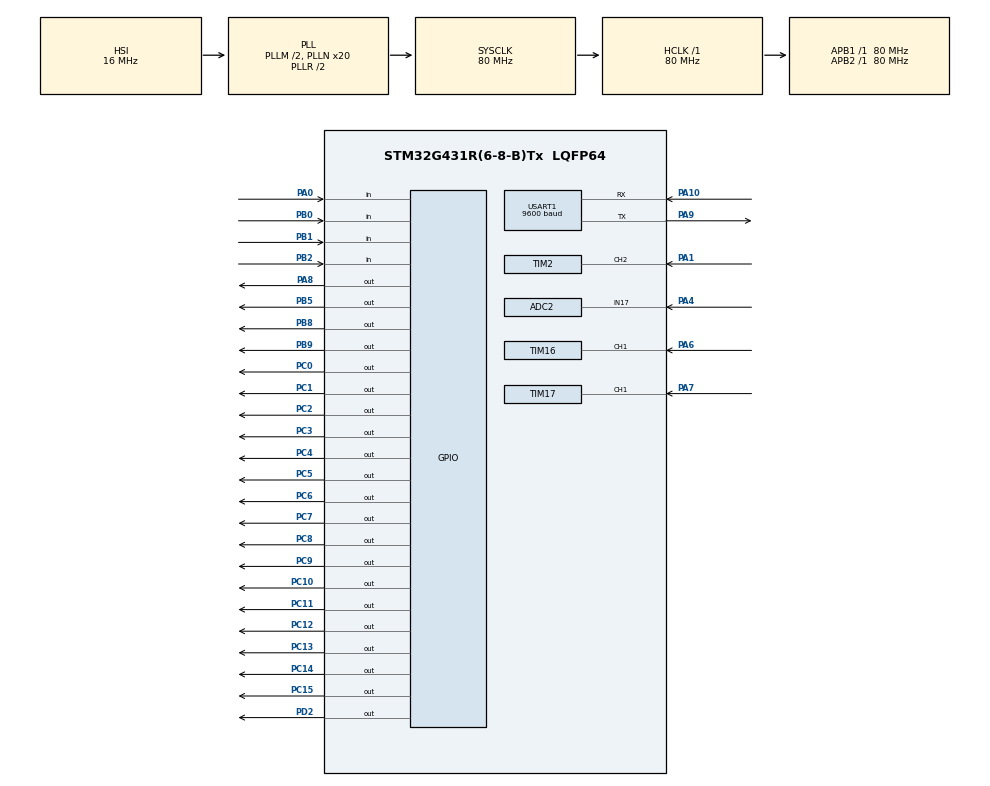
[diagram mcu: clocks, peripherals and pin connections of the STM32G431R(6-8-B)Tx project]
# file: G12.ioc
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ADC2.Channel-0\#ChannelRegularConversion=ADC_CHANNEL_17
ADC2.NbrOfConversionFlag=1
ADC2.OffsetNumber-0\#ChannelRegularConversion=ADC_OFFSET_NONE
ADC2.Rank-0\#ChannelRegularConversion=1
ADC2.SamplingTime-0\#ChannelRegularConversion=ADC_SAMPLETIME_640CYCLES_5
Mcu.Family=STM32G4
Mcu.Name=STM32G431R(6-8-B)Tx
Mcu.Package=LQFP64
NVIC.PriorityGroup=NVIC_PRIORITYGROUP_2
NVIC.TIM1_BRK_TIM15_IRQn=true\:1\:1\:true\:false\:true\:true\:true\:true
NVIC.TIM1_TRG_COM_TIM17_IRQn=true\:0\:0\:false\:false\:true\:true\:true\:true
NVIC.TIM1_UP_TIM16_IRQn=true\:0\:0\:false\:false\:true\:true\:true\:true
NVIC.TIM2_IRQn=true\:0\:0\:false\:false\:true\:true\:true\:true
NVIC.USART1_IRQn=true\:0\:0\:false\:false\:true\:true\:true\:true
PA0.Signal=GPIO_Input
PA1.Signal=S_TIM2_CH2
PA10.Mode=Asynchronous
PA10.Signal=USART1_RX
PA4.Mode=IN17-Single-Ended
PA4.Signal=ADC2_IN17
PA6.Signal=S_TIM16_CH1
PA7.Signal=S_TIM17_CH1
PA8.Signal=GPIO_Output
PA9.Mode=Asynchronous
PA9.Signal=USART1_TX
PB0.Signal=GPIO_Input
PB1.Signal=GPIO_Input
PB2.Signal=GPIO_Input
PB5.Signal=GPIO_Output
PB8-BOOT0.Signal=GPIO_Output
PB9.Signal=GPIO_Output
PC0.Signal=GPIO_Output
PC1.Signal=GPIO_Output
PC10.Signal=GPIO_Output
PC11.Signal=GPIO_Output
PC12.Signal=GPIO_Output
PC13.Signal=GPIO_Output
PC14-OSC32_IN.Signal=GPIO_Output
PC15-OSC32_OUT.Signal=GPIO_Output
PC2.Signal=GPIO_Output
PC3.Signal=GPIO_Output
PC4.Signal=GPIO_Output
PC5.Signal=GPIO_Output
PC6.Signal=GPIO_Output
PC7.Signal=GPIO_Output
PC8.Signal=GPIO_Output
PC9.Signal=GPIO_Output
PD2.Signal=GPIO_Output
PF0-OSC_IN.Mode=HSE-External-Oscillator
PF0-OSC_IN.Signal=RCC_OSC_IN
PF1-OSC_OUT.Mode=HSE-External-Oscillator
PF1-OSC_OUT.Signal=RCC_OSC_OUT
ProjectManager.HeapSize=0x200
ProjectManager.StackSize=0x400
ProjectManager.TargetToolchain=MDK-ARM V5
RCC.ADC12Freq_Value=80000000
RCC.AHBFreq_Value=80000000
RCC.APB1Freq_Value=80000000
RCC.APB1TimFreq_Value=80000000
RCC.APB2Freq_Value=80000000
RCC.APB2TimFreq_Value=80000000
RCC.CortexFreq_Value=80000000
RCC.EXTERNAL_CLOCK_VALUE=12288000
RCC.HCLKFreq_Value=80000000
RCC.HSE_VALUE=24000000
RCC.HSI48_VALUE=48000000
RCC.HSI_VALUE=16000000
RCC.LSE_VALUE=32768
RCC.PLLM=RCC_PLLM_DIV2
RCC.PLLN=20
RCC.SYSCLKFreq_VALUE=80000000
RCC.SYSCLKSource=RCC_SYSCLKSOURCE_PLLCLK
RCC.USBFreq_Value=80000000
RCC.VCOOutputFreq_Value=160000000
SH.S_TIM16_CH1.0=TIM16_CH1,Input_Capture1_from_TI1
SH.S_TIM17_CH1.0=TIM17_CH1,Input_Capture1_from_TI1
SH.S_TIM2_CH2.0=TIM2_CH2,Input_Capture2_from_TI2
TIM15.PeriodNoDither=9999
TIM15.Prescaler=799
TIM16.Channel=TIM_CHANNEL_1
TIM16.PeriodNoDither=\ 0xffff
TIM16.Prescaler=79
TIM17.Channel=TIM_CHANNEL_1
TIM17.PeriodNoDither=0xffff
TIM17.Prescaler=79
TIM2.Channel-Input_Capture2_from_TI2=TIM_CHANNEL_2
TIM2.PeriodNoDither=\ 0xffffffff
TIM2.Prescaler=79
USART1.BaudRate=9600
USART1.VirtualMode-Asynchronous=VM_ASYNC
VP_SYS_VS_DBSignals.Mode=DisableDeadBatterySignals
VP_TIM15_VS_ClockSourceINT.Mode=Internal
VP_TIM16_VS_ClockSourceINT.Mode=Enable_Timer
VP_TIM17_VS_ClockSourceINT.Mode=Enable_Timer
board=custom

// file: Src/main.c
/* USER CODE BEGIN Header */
/**
  ******************************************************************************
  * @file           : main.c
  * @brief          : Main program body
  ******************************************************************************
  * @attention
  *
  * <h2><center>&copy; Copyright (c) 2021 STMicroelectronics.
  * All rights reserved.</center></h2>
  *
  * This software component is licensed by ST under BSD 3-Clause license,
  * the "License"; You may not use this file except in compliance with the
  * License. You may obtain a copy of the License at:
  *                        opensource.org/licenses/BSD-3-Clause
  *
  ******************************************************************************
  */
/* USER CODE END Header */

#include "main.h"
#include "adc.h"
#include "tim.h"
#include "usart.h"
#include "gpio.h"

/* USER CODE BEGIN Includes */
#include "led.h"
#include "key.h"
#include "stdio.h"
#include "string.h"
#include "math.h"

/* USER CODE END Includes */

void SystemClock_Config(void);

/* USER CODE BEGIN 0 */

#define Display_DATA 0
#define Display_PARA 1

u8 Display_Mode = 0;

//1

double a = 120.4;
double b = 42.8;

_Bool max_flag = 0;
u8 a_index = 0;//考虑数据存满之前和存满之后
u8 b_index = 0;
u8 index_cnt = 0;
double a_buf[6];  //1 - 5分别存5个数据0
double b_buf[6];

double qa_buf[6];  //1 - 5分别存5个数
double qb_buf[6];

int ax = 0;
int bx = 0;

_Bool mode = 0; // 0A  ; 1B

//2

u8 Pax = 20;
u8 Pbx = 20;
int Pf = 1000;

extern double PA6_D;
extern double PA7_D;
extern double PA4_V_temp;
extern uint32_t PA1_F;

//LED
u8 led_ctrl = 0x00;
//c为角度
double c;
void Led_Proc(void)
{

	if(ax > Pax)
		led_ctrl |= 0x01;
	else
		led_ctrl&=~0x01;

	if(bx > Pbx)
		led_ctrl |= 0x02;
	else
		led_ctrl&=~0x02;

  if(PA1_F > Pf)
		led_ctrl |= 0x04;
	else
		led_ctrl &= ~0x04;

	if(mode == 0)
		led_ctrl|= 0x08;
	else
		led_ctrl&=~0x08;

	//LED5
	if(a <= 90)
	{
		c = 90 - a + b;
	}else
	{
		c = 90-(180-a);
	}

	if(c < 10)
		led_ctrl |= 0x10;
	else
		led_ctrl &= ~0x10;

	Led_Control(led_ctrl);
}

//KEY
uint32_t keyTick = 0;
void Key_Proc(void)
{
	if(uwTick - keyTick < 20)return;
	keyTick = uwTick;

  Key_Read();

	if(Trg & 0x01)
	{
		LCD_Clear(Black);
		Display_Mode = (Display_Mode + 1)%2;
	}

	if(Trg & 0x02)
	{
		if(Display_Mode == Display_PARA)
		{
			if(Pax < 60)
				Pax+=10;
			else
				Pax = 10;

			if(Pbx < 60)
				Pbx+=10;
			else
				Pbx = 10;
		}
	}

	if(Trg & 0x04)
	{
		if(Display_Mode == Display_PARA)
		{
			if(Pf < 10000)
				Pf += 1000;
			else
				Pf = 1000;
		}

		if(Display_Mode == Display_DATA)
		{
			mode = !mode;
			if(mode == 1)
				PA4_V_temp = 3.3;
		}
	}

	if(Trg & 0x08)
	{
		if(mode == 0)
		{
			if(PA6_D <= 0.1)
				a = 0;
		  else if(PA6_D > 0.1 && PA6_D <= 0.9)
			  a = 180/0.8 *(PA6_D - 0.1);
			else
				a = 180;

			if(PA7_D <= 0.1)
				b = 0;
		  else if(PA7_D > 0.1 && PA7_D <= 0.9)
		    b = 90/0.8 *(PA7_D - 0.1);
			else
				b = 90;

			u8 i;
			for(i = 4;i>0;i--)
			{
				a_buf[i+1] = a_buf[i];
			}

			for(i = 4;i>0;i--)
			{
				b_buf[i+1] = b_buf[i];
			}

			a_buf[1] = a;
			b_buf[1] = b;

			ax = fabs(a_buf[1] - a_buf[2]);
			bx = fabs(b_buf[1] - b_buf[2]);

//
//			if(a_index == 5)
//			{
//				a_index = 0;
//				b_index = 0;
//				max_flag = 1;//存满了  //方法一 标志位,不如操作数组
//				//方法二：存满后再存，数组先轮流替换,根据题目，存数时间顺序
//
//
//			}

		}
	}

}

//PA1  PA6  PA7
uint32_t uwIC2Value1_PA1 = 0;
uint32_t uwIC2Value2_PA1 = 0;
uint32_t uwDiffCapture_PA1 = 0;

/* Capture index */
uint16_t uhCaptureIndex_PA1 = 0;

/* Frequency Value */

uint32_t PA1_F;

//PA6
uint32_t uwIC2Value1_PA6 = 0;
uint32_t uwIC2Value2_PA6 = 0;
uint32_t low_PA6,high_PA6;

/* Capture index */
uint16_t uhCaptureIndex_PA6 = 0;

/* Frequency Value */

double PA6_D;

//PA7

uint32_t uwIC2Value1_PA7 = 0;
uint32_t uwIC2Value2_PA7 = 0;
uint32_t low_PA7,high_PA7;

/* Capture index */
uint16_t uhCaptureIndex_PA7 = 0;

/* Frequency Value */

double PA7_D;

void HAL_TIM_IC_CaptureCallback(TIM_HandleTypeDef *htim)
{
	if(htim == &htim2)
	{
			if (htim->Channel == HAL_TIM_ACTIVE_CHANNEL_2)
			{
				if(uhCaptureIndex_PA1 == 0)
				{
					/* Get the 1st Input Capture value */
					uwIC2Value1_PA1 = HAL_TIM_ReadCapturedValue(htim, TIM_CHANNEL_2);
					uhCaptureIndex_PA1 = 1;
				}
				else if(uhCaptureIndex_PA1 == 1)
				{
					/* Get the 2nd Input Capture value */
					uwIC2Value2_PA1 = HAL_TIM_ReadCapturedValue(htim, TIM_CHANNEL_2);

					/* Capture computation */
					if (uwIC2Value2_PA1 > uwIC2Value1_PA1)
					{
						uwDiffCapture_PA1 = (uwIC2Value2_PA1 - uwIC2Value1_PA1);
					}
					else if (uwIC2Value2_PA1 < uwIC2Value1_PA1)
					{
						/* 0xFFFF is max TIM1_CCRx value */
						uwDiffCapture_PA1 = ((0xFFFFFFFF - uwIC2Value1_PA1) + uwIC2Value2_PA1) + 1;
					}
					else
					{
						/* If capture values are equal, we have reached the limit of frequency
							 measures */
						Error_Handler();
					}

					/* Frequency computation: for this example TIMx (TIM1) is clocked by
						 APB2Clk */
					PA1_F = 1e6/uwDiffCapture_PA1;
					uhCaptureIndex_PA1 = 0;
				}
			}

	}

	if(htim == &htim16)
	{
			if (htim->Channel == HAL_TIM_ACTIVE_CHANNEL_1)
			{
				if(uhCaptureIndex_PA6 == 0)
				{
					/* Get the 1st Input Capture value */
					uwIC2Value1_PA6 = HAL_TIM_ReadCapturedValue(htim, TIM_CHANNEL_1);
					__HAL_TIM_SET_CAPTUREPOLARITY(&htim16,TIM_CHANNEL_1,TIM_INPUTCHANNELPOLARITY_FALLING);
					uhCaptureIndex_PA6 = 1;
				}
				else if(uhCaptureIndex_PA6 == 1)
				{
					/* Get the 2nd Input Capture value */
					uwIC2Value2_PA6 = HAL_TIM_ReadCapturedValue(htim, TIM_CHANNEL_1);
					__HAL_TIM_SET_CAPTUREPOLARITY(&htim16,TIM_CHANNEL_1,TIM_INPUTCHANNELPOLARITY_RISING);
					/* Capture computation */
					if (uwIC2Value2_PA6 > uwIC2Value1_PA6)
					{
						high_PA6 = (uwIC2Value2_PA6 - uwIC2Value1_PA6);
					}
					else if (uwIC2Value2_PA6 < uwIC2Value1_PA6)
					{
						/* 0xFFFF is max TIM1_CCRx value */
						high_PA6 = ((0xFFFF - uwIC2Value1_PA6) + uwIC2Value2_PA6) + 1;
					}
					else
					{
						/* If capture values are equal, we have reached the limit of frequency
							 measures */
						Error_Handler();
					}

					/* Frequency computation: for this example TIMx (TIM1) is clocked by
						 APB2Clk */
					uwIC2Value1_PA6 = uwIC2Value2_PA6;
					uhCaptureIndex_PA6 = 2;
				}
				else if(uhCaptureIndex_PA6 == 2)
				{
					/* Get the 2nd Input Capture value */
					uwIC2Value2_PA6 = HAL_TIM_ReadCapturedValue(htim, TIM_CHANNEL_1);
					/* Capture computation */
					if (uwIC2Value2_PA6 > uwIC2Value1_PA6)
					{
						low_PA6 = (uwIC2Value2_PA6 - uwIC2Value1_PA6);
					}
					else if (uwIC2Value2_PA6 < uwIC2Value1_PA6)
					{
						/* 0xFFFF is max TIM1_CCRx value */
						low_PA6 = ((0xFFFF - uwIC2Value1_PA6) + uwIC2Value2_PA6) + 1;
					}
					else
					{
						/* If capture values are equal, we have reached the limit of frequency
							 measures */
						Error_Handler();
					}

					/* Frequency computation: for this example TIMx (TIM1) is clocked by
						 APB2Clk */

					PA6_D = high_PA6*1.0/(low_PA6 + high_PA6);
					uhCaptureIndex_PA6 =  0;
				}

			}

	}

	if(htim == &htim17)
	{
					if (htim->Channel == HAL_TIM_ACTIVE_CHANNEL_1)
					{
						if(uhCaptureIndex_PA7 == 0)
						{
							/* Get the 1st Input Capture value */
							uwIC2Value1_PA7 = HAL_TIM_ReadCapturedValue(htim, TIM_CHANNEL_1);
							__HAL_TIM_SET_CAPTUREPOLARITY(&htim17,TIM_CHANNEL_1,TIM_INPUTCHANNELPOLARITY_FALLING);
							uhCaptureIndex_PA7 = 1;
						}
						else if(uhCaptureIndex_PA7 == 1)
						{
							/* Get the 2nd Input Capture value */
							uwIC2Value2_PA7 = HAL_TIM_ReadCapturedValue(htim, TIM_CHANNEL_1);
							__HAL_TIM_SET_CAPTUREPOLARITY(&htim17,TIM_CHANNEL_1,TIM_INPUTCHANNELPOLARITY_RISING);
							/* Capture computation */
							if (uwIC2Value2_PA7 > uwIC2Value1_PA7)
							{
								high_PA7 = (uwIC2Value2_PA7 - uwIC2Value1_PA7);
							}
							else if (uwIC2Value2_PA7 < uwIC2Value1_PA7)
							{
								/* 0xFFFF is max TIM1_CCRx value */
								high_PA7 = ((0xFFFF - uwIC2Value1_PA7) + uwIC2Value2_PA7) + 1;
							}
							else
							{
								/* If capture values are equal, we have reached the limit of frequency
									 measures */
								Error_Handler();
							}

							/* Frequency computation: for this example TIMx (TIM1) is clocked by
								 APB2Clk */
							uwIC2Value1_PA7 = uwIC2Value2_PA7;
							uhCaptureIndex_PA7 = 2;
						}
						else if(uhCaptureIndex_PA7 == 2)
						{
							/* Get the 2nd Input Capture value */
							uwIC2Value2_PA7 = HAL_TIM_ReadCapturedValue(htim, TIM_CHANNEL_1);
							/* Capture computation */
							if (uwIC2Value2_PA7 > uwIC2Value1_PA7)
							{
								low_PA7 = (uwIC2Value2_PA7 - uwIC2Value1_PA7);
							}
							else if (uwIC2Value2_PA7 < uwIC2Value1_PA7)
							{
								/* 0xFFFF is max TIM1_CCRx value */
								low_PA7 = ((0xFFFF - uwIC2Value1_PA7) + uwIC2Value2_PA7) + 1;
							}
							else
							{
								/* If capture values are equal, we have reached the limit of frequency
									 measures */
								Error_Handler();
							}

							/* Frequency computation: for this example TIMx (TIM1) is clocked by
								 APB2Clk */

							PA7_D = high_PA7*1.0/(low_PA7 + high_PA7);
							uhCaptureIndex_PA7 =  0;
						}

					}

	}

}

//PA4
double PA4_V;
void ADC_Proc(void)
{
	HAL_ADC_Start(&hadc2);
	PA4_V = HAL_ADC_GetValue(&hadc2)*3.3/4095;
}

//自动刷新
//亮变暗时候，遮挡光敏电阻时候,电压变大
double PA4_V_temp = 3.3;
uint32_t atTick = 0;
void Auto_Proc(void)
{
	if(uwTick - atTick < 100) return;
	atTick = uwTick;

	if(mode == 1) //考虑刚切换时的值改变
	{
		if(PA4_V_temp < (PA4_V - 0.5))  //注意设定一个阈值
		{
				if(PA6_D <= 0.1)
					a = 0;
				else if(PA6_D > 0.1 && PA6_D <= 0.9)
					a = 180/0.8 *(PA6_D - 0.1);
				else
					a = 180;

				if(PA7_D <= 0.1)
					b = 0;
				else if(PA7_D > 0.1 && PA7_D <= 0.9)
					b = 90/0.8 *(PA7_D - 0.1);
				else
					b = 90;

				u8 i;
				for(i = 4;i>0;i--)
				{
					a_buf[i+1] = a_buf[i];
				}

				for(i = 4;i>0;i--)
				{
					b_buf[i+1] = b_buf[i];
				}

				a_buf[1] = a;
				b_buf[1] = b;

				ax = fabs(a_buf[1] - a_buf[2]);
				bx = fabs(b_buf[1] - b_buf[2]);
		}
		PA4_V_temp = PA4_V;
	}

}

//串口
//发送
u8 tx_buf[100] = {"你好hello!\r\n"};

int fputc(int ch, FILE *f)
{
  /* Your implementation of fputc(). */

	HAL_UART_Transmit(&huart1,(u8 *)&ch,1,50);
  return ch;
}

//接受
u8 uart_buf[2];
u8 rx_buf[100];
u8 rx_cnt = 0;

uint32_t uartTick = 0;
void Rx_Idle(void)
{
	if(uwTick - uartTick < 50) return;
	uartTick = uwTick;

	if(rx_cnt > 0)
	{

		if(rx_buf[0] == 'a' && rx_buf[1] == '?')
		{
			printf("a:%.1f\r\n",a);

		}

		else if(rx_buf[0] == 'b' && rx_buf[1] == '?')
		{
			printf("b:%.1f\r\n",b);

		}

		else if(rx_buf[0] == 'a' && rx_buf[1] == 'a' && rx_buf[2] == '?')
		{
			printf("aa:%.1f-%.1f-%.1f-%.1f-%.1f\r\n",a_buf[1],a_buf[2],a_buf[3],a_buf[4],a_buf[5]);

		}

		else if(rx_buf[0] == 'b' && rx_buf[1] == 'b' && rx_buf[2] == '?')
		{
			printf("bb:%.1f-%.1f-%.1f-%.1f-%.1f\r\n",b_buf[1],b_buf[2],b_buf[3],b_buf[4],b_buf[5]);

		}

		else if(rx_buf[0] == 'q' && rx_buf[1] == 'a' && rx_buf[2] == '?')
		{
			u8 i;
			for(i = 0;i<6;i++)
			{
				qa_buf[i] = a_buf[i];
			}

		  //排序//冒泡//每次从第一个元素开始比较
		  u8 j,k;
		  double t;
			for(j = 1;j< 5;j++) //5个数，比较4次
			{
				for(k = 1;k< 6-j;k++) //最后一次比较 a[4] 和a[5] ;k = 4;因此k < 5
				{
					if(qa_buf[k] > qa_buf[k+1])
					{
						t = qa_buf[k];
						qa_buf[k] = qa_buf[k+1];
						qa_buf[k+1] = t;
					}
				}
			}
	   printf("qa:%.1f-%.1f-%.1f-%.1f-%.1f\r\n",qa_buf[1],qa_buf[2],qa_buf[3],qa_buf[4],qa_buf[5]);

	}

		else if(rx_buf[0] == 'q' && rx_buf[1] == 'b' && rx_buf[2] == '?')
		{
			u8 i;
			for(i = 0;i<6;i++)
			{
				qb_buf[i] = b_buf[i];
			}

		  //排序//冒泡
		 u8 j,k;
		 double t;
			//a[k] 1 - 5共 5 个数
			for(j = 1;j< 5;j++) //5个数，比较4次
			{
				for(k = 1;k<6 - j;k++) //最后一次比较 a[4] 和a[5] ;k = 4;
				{
					if(qb_buf[k] > qb_buf[k+1])
					{
						t = qb_buf[k];
						qb_buf[k] = qb_buf[k+1];
						qb_buf[k+1] = t;
					}
				}
			}

			printf("qb:%.1f-%.1f-%.1f-%.1f-%.1f\r\n",qb_buf[1],qb_buf[2],qb_buf[3],qb_buf[4],qb_buf[5]);
		}
		else
		{
			printf("error\r\n");
		}

		rx_cnt = 0;
		memset(rx_buf,'\0',sizeof(rx_buf));
	}

}

void HAL_UART_RxCpltCallback(UART_HandleTypeDef *huart)
{
	uartTick = uwTick;
	HAL_UART_Receive_IT(&huart1,uart_buf,1);
  rx_buf[rx_cnt++] = uart_buf[0];

}

//LCD
uint32_t lcdTicK = 0;

void LCD_Proc(void)
{
	if(uwTick - lcdTicK < 100) return;
	lcdTicK = uwTick;

	ADC_Proc();

	u8 display_buf[30];

	if(Display_Mode == Display_DATA)
	{
		sprintf((char*)display_buf,"        DATA ");
		LCD_DisplayStringLine(Line1,display_buf);

		sprintf((char*)display_buf,"   a:%.1f %4.2f   ",a,PA4_V);
		LCD_DisplayStringLine(Line2,display_buf);

		sprintf((char*)display_buf,"   b:%.1f      ",b);
		LCD_DisplayStringLine(Line3,display_buf);

		sprintf((char*)display_buf,"   f:%dHz       ",PA1_F);
		LCD_DisplayStringLine(Line4,display_buf);

		sprintf((char*)display_buf,"   ax:%d       ",ax);
		LCD_DisplayStringLine(Line6,display_buf);

		sprintf((char*)display_buf,"   bx:%d       ",bx);
		LCD_DisplayStringLine(Line7,display_buf);
				if(mode == 0)
			sprintf((char*)display_buf,"   mode:A ");
		else
			sprintf((char*)display_buf,"   mode:B ");
		LCD_DisplayStringLine(Line8,display_buf);
	}

	if(Display_Mode == Display_PARA)
	{
		sprintf((char*)display_buf,"        PARA ");
		LCD_DisplayStringLine(Line1,display_buf);

		sprintf((char*)display_buf,"   Pax:%d      ",Pax);
		LCD_DisplayStringLine(Line2,display_buf);

		sprintf((char*)display_buf,"   Pbx:%d      ",Pbx);
		LCD_DisplayStringLine(Line3,display_buf);

		sprintf((char*)display_buf,"   Pf:%d       ",Pf);
		LCD_DisplayStringLine(Line4,display_buf);
	}

}

//TIM15 -- 100ms

u8 led_cnt;
void HAL_TIM_PeriodElapsedCallback(TIM_HandleTypeDef *htim)
{
	if(htim == &htim15)
	{

//		if(++led_cnt == 10)
//		{
//				led_ctrl^=0x01;
//			led_cnt = 0;
//		}

	}
}

/* USER CODE END 0 */

int main(void)
{

  /* MCU Configuration--------------------------------------------------------*/

  /* Reset of all peripherals, Initializes the Flash interface and the Systick. */
  HAL_Init();

  /* Configure the system clock */
  SystemClock_Config();

  /* Initialize all configured peripherals */
  MX_GPIO_Init();
  MX_ADC2_Init();
  MX_TIM2_Init();
  MX_TIM15_Init();
  MX_TIM16_Init();
  MX_TIM17_Init();
  MX_USART1_UART_Init();
  /* USER CODE BEGIN 2 */

    LCD_Init();

		//TIM15
		HAL_TIM_Base_Start_IT(&htim15);

		//PA1  PA6 PA7

		HAL_TIM_IC_Start_IT(&htim2,TIM_CHANNEL_2);
		HAL_TIM_IC_Start_IT(&htim16,TIM_CHANNEL_1);
		HAL_TIM_IC_Start_IT(&htim17,TIM_CHANNEL_1);

		//UART
		HAL_UART_Receive_IT(&huart1,uart_buf,1);

  /* USER CODE END 2 */

  /* Infinite loop */
  /* USER CODE BEGIN WHILE */

    LCD_Clear(Black);
    LCD_SetBackColor(Black);
    LCD_SetTextColor(White);

//    LCD_DrawLine(120, 0, 320, Horizontal);
//    LCD_DrawLine(0, 160, 240, Vertical);
//    HAL_Delay(1000);
//    LCD_Clear(Blue);

//    LCD_DrawRect(70, 210, 100, 100);
//    HAL_Delay(1000);
//    LCD_Clear(Blue);

//    LCD_DrawCircle(120, 160, 50);
//    HAL_Delay(1000);

//    LCD_Clear(Blue);
//    LCD_DisplayStringLine(Line4, (unsigned char *)"    Hello,world.   ");
//    HAL_Delay(1000);

//    LCD_SetBackColor(White);
//    LCD_DisplayStringLine(Line0, (unsigned char *)"                    ");
//    LCD_SetBackColor(Black);
//    LCD_DisplayStringLine(Line1, (unsigned char *)"                    ");
//    LCD_SetBackColor(Grey);
//    LCD_DisplayStringLine(Line2, (unsigned char *)"                    ");
//    LCD_SetBackColor(Blue);
//    LCD_DisplayStringLine(Line3, (unsigned char *)"                    ");
//    LCD_SetBackColor(Blue2);
//    LCD_DisplayStringLine(Line4, (unsigned char *)"                    ");
//    LCD_SetBackColor(Red);
//    LCD_DisplayStringLine(Line5, (unsigned char *)"                    ");
//    LCD_SetBackColor(Magenta);
//    LCD_DisplayStringLine(Line6, (unsigned char *)"                    ");
//    LCD_SetBackColor(Green);
//    LCD_DisplayStringLine(Line7, (unsigned char *)"                    ");
//    LCD_SetBackColor(Cyan);
//    LCD_DisplayStringLine(Line8, (unsigned char *)"                    ");
//    LCD_SetBackColor(Yellow);
//    LCD_DisplayStringLine(Line9, (unsigned char *)"                    ");

    Led_Control(0x00);
		printf("你好！\r\n");
    while (1)
    {
    /* USER CODE END WHILE */

    /* USER CODE BEGIN 3 */
			Led_Proc();
			Key_Proc();
			LCD_Proc();
			Auto_Proc();
			Rx_Idle();

    }
  /* USER CODE END 3 */
}

void SystemClock_Config(void)
{
  RCC_OscInitTypeDef RCC_OscInitStruct = {0};
  RCC_ClkInitTypeDef RCC_ClkInitStruct = {0};
  RCC_PeriphCLKInitTypeDef PeriphClkInit = {0};

  /** Configure the main internal regulator output voltage
  */
  HAL_PWREx_ControlVoltageScaling(PWR_REGULATOR_VOLTAGE_SCALE1);
  /** Initializes the CPU, AHB and APB busses clocks
  */
  RCC_OscInitStruct.OscillatorType = RCC_OSCILLATORTYPE_HSI;
  RCC_OscInitStruct.HSIState = RCC_HSI_ON;
  RCC_OscInitStruct.HSICalibrationValue = RCC_HSICALIBRATION_DEFAULT;
  RCC_OscInitStruct.PLL.PLLState = RCC_PLL_ON;
  RCC_OscInitStruct.PLL.PLLSource = RCC_PLLSOURCE_HSI;
  RCC_OscInitStruct.PLL.PLLM = RCC_PLLM_DIV2;
  RCC_OscInitStruct.PLL.PLLN = 20;
  RCC_OscInitStruct.PLL.PLLP = RCC_PLLP_DIV2;
  RCC_OscInitStruct.PLL.PLLQ = RCC_PLLQ_DIV2;
  RCC_OscInitStruct.PLL.PLLR = RCC_PLLR_DIV2;
  if (HAL_RCC_OscConfig(&RCC_OscInitStruct) != HAL_OK)
  {
    Error_Handler();
  }
  /** Initializes the CPU, AHB and APB busses clocks
  */
  RCC_ClkInitStruct.ClockType = RCC_CLOCKTYPE_HCLK|RCC_CLOCKTYPE_SYSCLK
                              |RCC_CLOCKTYPE_PCLK1|RCC_CLOCKTYPE_PCLK2;
  RCC_ClkInitStruct.SYSCLKSource = RCC_SYSCLKSOURCE_PLLCLK;
  RCC_ClkInitStruct.AHBCLKDivider = RCC_SYSCLK_DIV1;
  RCC_ClkInitStruct.APB1CLKDivider = RCC_HCLK_DIV1;
  RCC_ClkInitStruct.APB2CLKDivider = RCC_HCLK_DIV1;

  if (HAL_RCC_ClockConfig(&RCC_ClkInitStruct, FLASH_LATENCY_3) != HAL_OK)
  {
    Error_Handler();
  }
  /** Initializes the peripherals clocks
  */
  PeriphClkInit.PeriphClockSelection = RCC_PERIPHCLK_USART1|RCC_PERIPHCLK_ADC12;
  PeriphClkInit.Usart1ClockSelection = RCC_USART1CLKSOURCE_PCLK2;
  PeriphClkInit.Adc12ClockSelection = RCC_ADC12CLKSOURCE_SYSCLK;
  if (HAL_RCCEx_PeriphCLKConfig(&PeriphClkInit) != HAL_OK)
  {
    Error_Handler();
  }
}

void Error_Handler(void)
{
}

/************************ (C) COPYRIGHT STMicroelectronics *****END OF FILE****/
